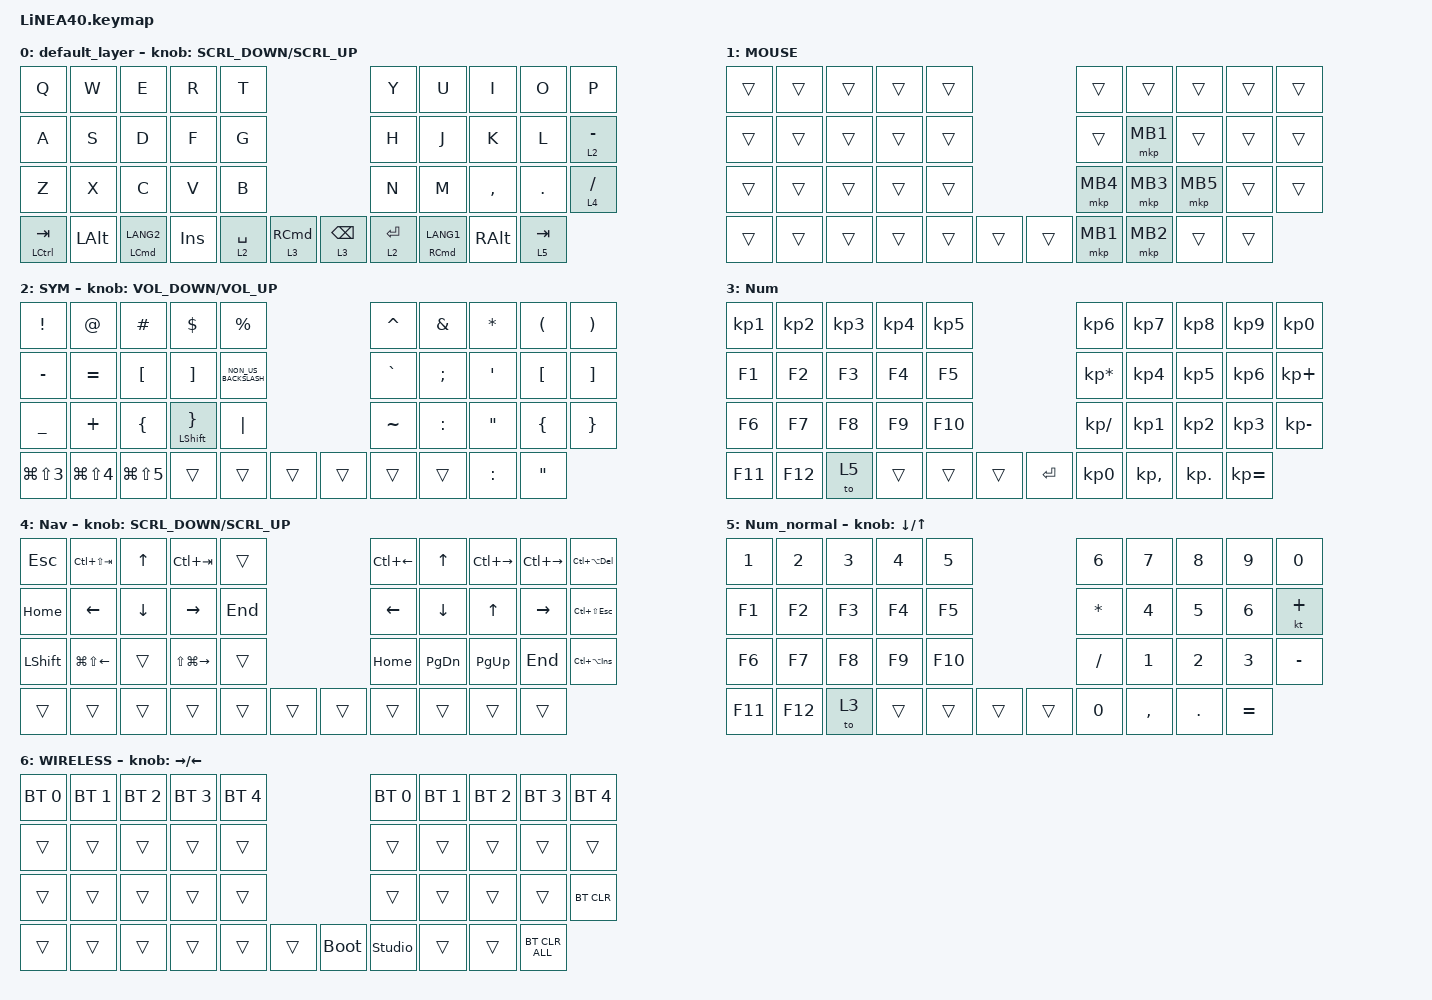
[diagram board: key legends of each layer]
#define ZMK_POINTING_DEFAULT_SCRL_VAL 150

#include <dt-bindings/zmk/input_transform.h>
#include <input/processors.dtsi>
#include <zephyr/dt-bindings/input/input-event-codes.h>
#include <behaviors.dtsi>
#include <dt-bindings/zmk/bt.h>
#include <dt-bindings/zmk/keys.h>
#include <dt-bindings/zmk/pointing.h>

#define MOUSE 1
#define MARK 2
#define CURSOR 3
#define FUNCTION 4
#define SCROLL 5
#define WIRELESS 6

//mouse cursol

&mmv {
    delay-ms = <20>;
    trigger-period-ms = <5>;
    time-to-max-speed-ms = <100>;
    acceleration-exponent = <2>;
};

//mouse scroll

&msc {
    delay-ms = <3>;
    trigger-period-ms = <3>;
    time-to-max-speed-ms = <100>;
    acceleration-exponent = <0>;
};

/ {
    input_processors {
        zip_wheel_scaler: zip_wheel_scaler {
            compatible = "zmk,input-processor-scaler";
            #input-processor-cells = <2>;
            type = <INPUT_EV_REL>;
            codes = <INPUT_REL_WHEEL>;
            track-remainders;
        };
    };
};

&msc_input_listener {
    speed_up {
        layers = <FUNCTION>;
        input-processors = <&zip_wheel_scaler 3 1>; //スクロールを3倍速にする
    };
};

&trackball_listener {
    scroller {
        layers = <SCROLL>;
        input-processors =
            <&zip_xy_transform INPUT_TRANSFORM_Y_INVERT>,
            //スクロール方向を逆転,,,,,,,,,,,,,,,,,,,,,,
            <&zip_xy_to_scroll_mapper>;
    };
};

/ {
    combos {
        compatible = "zmk,combos";

        tab {
            bindings = <&kp TAB>;
            key-positions = <1 2>;
            timeout-ms = <45>;
            require-prior-idle-ms = <100>;
            layers = <0>;
        };

        CenterClick {
            bindings = <&mkp MB3>;
            key-positions = <16 18 17>;
            timeout-ms = <45>;
            require-prior-idle-ms = <100>;
            layers = <0>;
        };

        RightClick {
            bindings = <&mkp MB2>;
            key-positions = <18 16>;
            timeout-ms = <45>;
            require-prior-idle-ms = <100>;
            layers = <0>;
        };

        PrevClick {
            bindings = <&kp LG(LEFT_BRACKET)>;
            key-positions = <6 7>;
            timeout-ms = <45>;
            require-prior-idle-ms = <100>;
            layers = <0>;
        };

        ClickNext {
            bindings = <&kp LG(RIGHT_BRACKET)>;
            key-positions = <7 8>;
            timeout-ms = <45>;
            require-prior-idle-ms = <100>;
            layers = <0>;
        };

        pressctr {
            bindings = <&kp LEFT_CONTROL>;
            key-positions = <11 10>;
            timeout-ms = <60>;
            require-prior-idle-ms = <100>;
        };

        esccombo {
            bindings = <&lt 6 ESC>;
            key-positions = <1 0>;
            timeout-ms = <45>;
            require-prior-idle-ms = <100>;
            layers = <0>;
        };

        abc {
            bindings = <&kp LANGUAGE_2>;
            key-positions = <21 22>;
            timeout-ms = <50>;
            require-prior-idle-ms = <100>;
        };

        kana {
            bindings = <&kp LANGUAGE_1>;
            key-positions = <27 28>;
            timeout-ms = <50>;
            require-prior-idle-ms = <100>;
            layers = <0>;
        };

        unlock {
            bindings = <&studio_unlock>;
            key-positions = <36 40>;
        };

        mouseclick {
            bindings = <&mkp MB1>;
            key-positions = <16 17>;
            timeout-ms = <45>;
            require-prior-idle-ms = <100>;
            layers = <0>;
        };

        pressshift {
            bindings = <&kp LEFT_SHIFT>;
            key-positions = <20 21>;
            timeout-ms = <80>;
            require-prior-idle-ms = <100>;
        };

        pressshiftr {
            bindings = <&kp RIGHT_SHIFT>;
            key-positions = <29 28>;
            timeout-ms = <80>;
            require-prior-idle-ms = <100>;
            layers = <0>;
        };

        pressopt-alt {
            bindings = <&kp LEFT_ALT>;
            key-positions = <20 22>;
            timeout-ms = <50>;
            require-prior-idle-ms = <100>;
        };

        pressopt-alt-r {
            bindings = <&kp RIGHT_ALT>;
            key-positions = <29 27>;
            timeout-ms = <50>;
            require-prior-idle-ms = <100>;
            layers = <0>;
        };

        ctr-r {
            bindings = <&kp RIGHT_CONTROL>;
            key-positions = <19 17>;
            timeout-ms = <50>;
            require-prior-idle-ms = <100>;
            layers = <0>;
        };

        tabshift {
            bindings = <&kp LS(TAB)>;
            key-positions = <3 2>;
            timeout-ms = <45>;
            require-prior-idle-ms = <100>;
            layers = <0>;
        };

        vol_up {
            bindings = <&kp C_VOLUME_UP>;
            key-positions = <5 15>;
            timeout-ms = <45>;
            require-prior-idle-ms = <100>;
            layers = <0>;
        };

        vol_down {
            bindings = <&kp C_VOLUME_DOWN>;
            key-positions = <15 25>;
            timeout-ms = <45>;
            require-prior-idle-ms = <100>;
            layers = <0>;
        };

        play_stop {
            bindings = <&kp F8>;
            key-positions = <15 16>;
            timeout-ms = <45>;
            require-prior-idle-ms = <100>;
            layers = <0>;
        };

        bt0 {
            bindings = <&bt BT_SEL 0>;
            key-positions = <10 24 4>;
            timeout-ms = <45>;
            require-prior-idle-ms = <100>;
            layers = <0>;
        };

        bt1 {
            bindings = <&bt BT_SEL 1>;
            key-positions = <0 4 24>;
            timeout-ms = <45>;
            require-prior-idle-ms = <100>;
            layers = <0>;
        };

        bt2 {
            bindings = <&bt BT_SEL 2>;
            key-positions = <1 4 24>;
            timeout-ms = <45>;
            require-prior-idle-ms = <100>;
            layers = <0>;
        };

        bt3 {
            bindings = <&bt BT_SEL 3>;
            key-positions = <2 4 24>;
            timeout-ms = <45>;
            require-prior-idle-ms = <100>;
            layers = <0>;
        };

        bt4 {
            bindings = <&bt BT_SEL 4>;
            key-positions = <3 4 24>;
            timeout-ms = <45>;
            require-prior-idle-ms = <100>;
            layers = <0>;
        };

        bt_clr {
            bindings = <&bt BT_CLR>;
            key-positions = <4 22 24>;
            timeout-ms = <45>;
            require-prior-idle-ms = <100>;
            layers = <0>;
        };

        bt_clr_all {
            bindings = <&bt BT_CLR_ALL>;
            key-positions = <4 21 24>;
            timeout-ms = <45>;
            require-prior-idle-ms = <100>;
            layers = <0>;
        };

        mute {
            bindings = <&kp K_MUTE>;
            key-positions = <6 8 7>;
            timeout-ms = <45>;
            require-prior-idle-ms = <100>;
            layers = <0>;
        };

        previous {
            bindings = <&kp K_PREVIOUS>;
            key-positions = <5 7 6>;
            timeout-ms = <45>;
            require-prior-idle-ms = <100>;
            layers = <0>;
        };

        next {
            bindings = <&kp C_NEXT>;
            key-positions = <7 9 8>;
            timeout-ms = <45>;
            require-prior-idle-ms = <100>;
            layers = <0>;
        };

        del {
            bindings = <&kp DEL>;
            key-positions = <4 3>;
            timeout-ms = <45>;
            require-prior-idle-ms = <100>;
            layers = <0>;
        };

        layer6 {
            bindings = <&mo 6>;
            key-positions = <10 20>;
        };
    };

    behaviors {
        re_kp: sensor_rotate_kp {
            compatible = "zmk,behavior-sensor-rotate-var";
            #sensor-binding-cells = <2>;
            bindings = <&kp>, <&kp>;
        };

        mouse_scrl: mouse_wheel_scrl {
            compatible = "zmk,behavior-sensor-rotate-var";
            #sensor-binding-cells = <2>;
            bindings = <&msc>, <&msc>;

            tap-ms = <20>;
        };

        new_behavior: new_behavior {
            compatible = "zmk,behavior-hold-tap";
            label = "NEW_BEHAVIOR";
            bindings = <&kp>, <&kp>;

            #binding-cells = <2>;
            tapping-term-ms = <200>;
            require-prior-idle-ms = <125>;
            flavor = "balanced";
            retro-tap;
            quick-tap-ms = <150>;
        };
    };

    keymap {
        compatible = "zmk,keymap";

        default_layer {
            bindings = <
&kp Q                 &kp W         &kp E           &kp R    &kp T                                       &kp Y        &kp U  &kp I           &kp O          &kp P
&kp A                 &kp S         &kp D           &kp F    &kp G                                       &kp H        &kp J  &kp K           &kp L          &lt 2 MINUS
&kp Z                 &kp X         &kp C           &kp V    &kp B                                       &kp N        &kp M  &kp COMMA       &kp DOT        &lt 4 SLASH
&mt LEFT_CONTROL TAB  &kp LEFT_ALT  &mt LCMD LANG2  &kp INS  &lt 2 SPACE  &lt 3 RCMD    &lt 3 BACKSPACE  &lt 2 ENTER         &mt RCMD LANG1  &kp RIGHT_ALT  &lt 5 TAB
            >;

            sensor-bindings = <&mouse_scrl SCRL_DOWN SCRL_UP>;
        };

        //1

        MOUSE {
            bindings = <
&trans  &trans  &trans  &trans  &trans                    &trans    &trans    &trans    &trans  &trans
&trans  &trans  &trans  &trans  &trans                    &trans    &mkp MB1  &trans    &trans  &trans
&trans  &trans  &trans  &trans  &trans                    &mkp MB4  &mkp MB3  &mkp MB5  &trans  &trans
&trans  &trans  &trans  &trans  &trans  &trans    &trans  &mkp MB1            &mkp MB2  &trans  &trans
            >;
        };

        //2

        SYM {
            bindings = <
&kp EXCLAMATION       &kp AT                &kp HASH              &kp DOLLAR                  &kp PERCENT                             &kp CARET  &kp AMPERSAND  &kp ASTERISK       &kp LEFT_PARENTHESIS  &kp RIGHT_PARENTHESIS
&kp MINUS             &kp EQUAL             &kp LEFT_BRACKET      &kp RIGHT_BRACKET           &kp NON_US_BACKSLASH                    &kp GRAVE  &kp SEMICOLON  &kp SQT            &kp LEFT_BRACKET      &kp RIGHT_BRACKET
&kp UNDERSCORE        &kp PLUS              &kp LEFT_BRACE        &mt LEFT_SHIFT RIGHT_BRACE  &kp PIPE                                &kp TILDE  &kp COLON      &kp DOUBLE_QUOTES  &kp LEFT_BRACE        &kp RIGHT_BRACE
&kp LG(LS(NUMBER_3))  &kp LG(LS(NUMBER_4))  &kp LG(LS(NUMBER_5))  &trans                      &trans                &trans    &trans  &trans                    &trans             &kp COLON             &kp DOUBLE_QUOTES
            >;

            sensor-bindings = <&re_kp C_VOLUME_DOWN C_VOLUME_UP>;
        };

        //3

        Num {
            bindings = <
&kp KP_N1  &kp KP_NUMBER_2  &kp KP_NUMBER_3  &kp KP_NUMBER_4  &kp KP_NUMBER_5                       &kp KP_NUMBER_6  &kp KP_NUMBER_7  &kp KP_NUMBER_8  &kp KP_NUMBER_9  &kp KP_NUMBER_0
&kp F1     &kp F2           &kp F3           &kp F4           &kp F5                                &kp KP_ASTERISK  &kp KP_NUMBER_4  &kp KP_NUMBER_5  &kp KP_NUMBER_6  &kp KP_PLUS
&kp F6     &kp F7           &kp F8           &kp F9           &kp F10                               &kp KP_SLASH     &kp KP_NUMBER_1  &kp KP_NUMBER_2  &kp KP_NUMBER_3  &kp KP_MINUS
&kp F11    &kp F12          &to 5            &trans           &trans           &trans    &kp ENTER  &kp KP_NUMBER_0                   &kp KP_COMMA     &kp KP_DOT       &kp KP_EQUAL
            >;
        };

        //4

        Nav {
            bindings = <
&kp ESC         &kp LC(LS(TAB))         &kp UP_ARROW    &kp LC(TAB)              &trans                     &kp LC(LEFT_ARROW)  &kp UP_ARROW    &kp LC(RIGHT_ARROW)  &kp LC(RIGHT_ARROW)  &kp LC(LA(DELETE))
&kp HOME        &kp LEFT_ARROW          &kp DOWN_ARROW  &kp RIGHT_ARROW          &kp END                    &kp LEFT_ARROW      &kp DOWN_ARROW  &kp UP_ARROW         &kp RIGHT_ARROW      &kp LC(LS(ESCAPE))
&kp LEFT_SHIFT  &kp LG(LS(LEFT_ARROW))  &trans          &kp LS(LG(RIGHT_ARROW))  &trans                     &kp HOME            &kp PAGE_DOWN   &kp PAGE_UP          &kp END              &kp LC(LA(INS))
&trans          &trans                  &trans          &trans                   &trans   &trans    &trans  &trans                              &trans               &trans               &trans
            >;

            sensor-bindings = <&mouse_scrl SCRL_DOWN SCRL_UP>;
        };

        //5

        Num_normal {
            bindings = <
&kp NUMBER_1  &kp NUMBER_2  &kp NUMBER_3  &kp NUMBER_4  &kp NUMBER_5                    &kp NUMBER_6  &kp NUMBER_7  &kp NUMBER_8  &kp NUMBER_9  &kp NUMBER_0
&kp F1        &kp F2        &kp F3        &kp F4        &kp F5                          &kp ASTERISK  &kp NUMBER_4  &kp NUMBER_5  &kp NUMBER_6  &kt PLUS
&kp F6        &kp F7        &kp F8        &kp F9        &kp F10                         &kp SLASH     &kp NUMBER_1  &kp NUMBER_2  &kp NUMBER_3  &kp MINUS
&kp F11       &kp F12       &to 3         &trans        &trans        &trans    &trans  &kp NUMBER_0                &kp COMMA     &kp PERIOD    &kp EQUAL
            >;

            sensor-bindings = <&inc_dec_kp DOWN_ARROW UP_ARROW>;
        };

        //6

        WIRELESS {
            bindings = <
&bt BT_SEL 0  &bt BT_SEL 1  &bt BT_SEL 2  &bt BT_SEL 3  &bt BT_SEL 4                         &bt BT_SEL 0    &bt BT_SEL 1  &bt BT_SEL 2  &bt BT_SEL 3  &bt BT_SEL 4
&trans        &trans        &trans        &trans        &trans                               &trans          &trans        &trans        &trans        &trans
&trans        &trans        &trans        &trans        &trans                               &trans          &trans        &trans        &trans        &bt BT_CLR
&trans        &trans        &trans        &trans        &trans        &trans    &bootloader  &studio_unlock                &trans        &trans        &bt BT_CLR_ALL
            >;

            sensor-bindings = <&inc_dec_kp RIGHT_ARROW LEFT_ARROW>;
        };
    };
};
